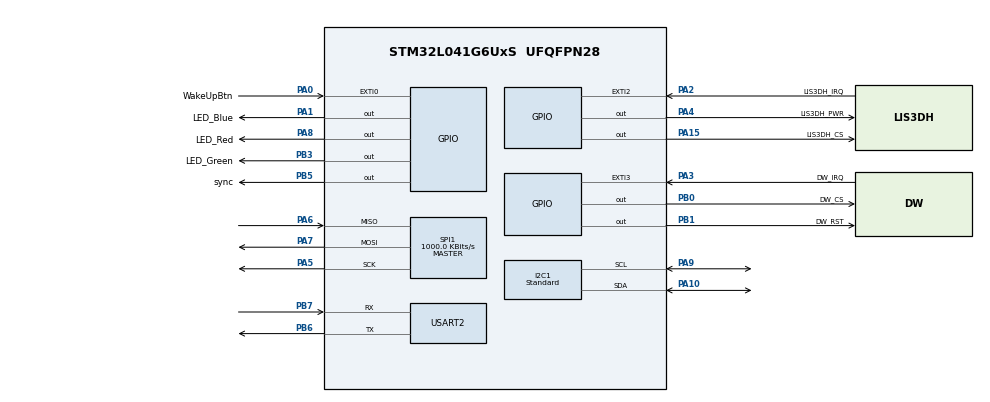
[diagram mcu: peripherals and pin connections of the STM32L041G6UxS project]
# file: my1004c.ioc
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I2C1.Analog_Filter=I2C_ANALOGFILTER_ENABLE
I2C1.I2C_Fall_Time=100
I2C1.I2C_Rise_Time=100
I2C1.I2C_Speed_Mode=I2C_Standard
I2C1.NoStretchMode=I2C_NOSTRETCH_DISABLE
I2C1.Timing=0x00503D58
Mcu.Family=STM32L0
Mcu.Name=STM32L041G6UxS
Mcu.Package=UFQFPN28
NVIC.EXTI0_1_IRQn=true\:0\:0\:false\:false\:true\:true\:true\:true
NVIC.EXTI2_3_IRQn=true\:0\:0\:false\:false\:true\:true\:true\:true
NVIC.RTC_IRQn=true\:0\:0\:false\:false\:true\:true\:true\:true
NVIC.USART2_IRQn=true\:0\:0\:false\:false\:true\:true\:true\:true
PA0-CK_IN.GPIO_Label=WakeUpBtn
PA0-CK_IN.Signal=GPXTI0
PA1.GPIO_Label=LED_Blue
PA1.PinState=GPIO_PIN_SET
PA1.Signal=GPIO_Output
PA10.Mode=I2C
PA10.Signal=I2C1_SDA
PA13.Mode=Serial_Wire
PA13.Signal=SYS_SWDIO
PA14.Mode=Serial_Wire
PA14.Signal=SYS_SWCLK
PA15.GPIO_Label=LIS3DH_CS
PA15.PinState=GPIO_PIN_SET
PA15.Signal=GPIO_Output
PA2.GPIO_Label=LIS3DH_IRQ
PA2.Signal=GPXTI2
PA3.GPIO_Label=DW_IRQ
PA3.Signal=GPXTI3
PA4.GPIO_Label=LIS3DH_PWR
PA4.PinState=GPIO_PIN_SET
PA4.Signal=GPIO_Output
PA5.Mode=Full_Duplex_Master
PA5.Signal=SPI1_SCK
PA6.Mode=Full_Duplex_Master
PA6.Signal=SPI1_MISO
PA7.Mode=Full_Duplex_Master
PA7.Signal=SPI1_MOSI
PA8.GPIO_Label=LED_Red
PA8.PinState=GPIO_PIN_SET
PA8.Signal=GPIO_Output
PA9.Mode=I2C
PA9.Signal=I2C1_SCL
PB0.GPIO_Label=DW_CS
PB0.GPIO_ModeDefaultOutputPP=GPIO_MODE_OUTPUT_PP
PB0.GPIO_PuPd=GPIO_NOPULL
PB0.GPIO_Speed=GPIO_SPEED_FREQ_VERY_HIGH
PB0.PinState=GPIO_PIN_SET
PB0.Signal=GPIO_Output
PB1.GPIO_Label=DW_RST
PB1.GPIO_ModeDefaultOutputPP=GPIO_MODE_OUTPUT_OD
PB1.GPIO_PuPd=GPIO_NOPULL
PB1.GPIO_Speed=GPIO_SPEED_FREQ_VERY_HIGH
PB1.PinState=GPIO_PIN_SET
PB1.Signal=GPIO_Output
PB3.GPIO_Label=LED_Green
PB3.PinState=GPIO_PIN_SET
PB3.Signal=GPIO_Output
PB5.GPIO_Label=sync
PB5.GPIO_Speed=GPIO_SPEED_FREQ_VERY_HIGH
PB5.Signal=GPIO_Output
PB6.Mode=Asynchronous
PB6.Signal=USART2_TX
PB7.Mode=Asynchronous
PB7.Signal=USART2_RX
ProjectManager.HeapSize=0x200
ProjectManager.StackSize=0x400
ProjectManager.TargetToolchain=STM32CubeIDE
RCC.AHBFreq_Value=16000000
RCC.APB1Freq_Value=16000000
RCC.APB1TimFreq_Value=16000000
RCC.APB2Freq_Value=16000000
RCC.APB2TimFreq_Value=16000000
RCC.HCLKFreq_Value=16000000
RCC.HSE_VALUE=8000000
RCC.HSI16_VALUE=16000000
RCC.HSI_VALUE=16000000
RCC.LSE_VALUE=32768
RCC.MSIClockRange=RCC_MSIRANGE_1
RCC.MSI_VALUE=131072
RCC.PLLMUL=RCC_PLLMUL_4
RCC.SYSCLKFreq_VALUE=16000000
RCC.SYSCLKSource=RCC_SYSCLKSOURCE_HSI
RCC.VCOOutputFreq_Value=64000000
SPI1.BaudRatePrescaler=SPI_BAUDRATEPRESCALER_16
SPI1.CalculateBaudRate=1000.0 KBits/s
SPI1.Direction=SPI_DIRECTION_2LINES
SPI1.Mode=SPI_MODE_MASTER
SPI1.VirtualType=VM_MASTER
USART2.VirtualMode-Asynchronous=VM_ASYNC
VP_CRC_VS_CRC.Mode=CRC_Activate
VP_RTC_VS_RTC_Activate.Mode=RTC_Enabled
VP_RTC_VS_RTC_WakeUp_intern.Mode=WakeUp
board=custom

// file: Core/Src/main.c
/* USER CODE BEGIN Header */
/**
  ******************************************************************************
  * @file           : main.c
  * @brief          : Main program body
  ******************************************************************************
  * @attention
  *
  * Copyright (c) 2025 STMicroelectronics.
  * All rights reserved.
  *
  * This software is licensed under terms that can be found in the LICENSE file
  * in the root directory of this software component.
  * If no LICENSE file comes with this software, it is provided AS-IS.
  *
  ******************************************************************************
  */
/* USER CODE END Header */
#include "main.h"

/* USER CODE BEGIN Includes */
#include <stdint.h>
#include "lis3dh.h"
#include "stm32l041xx.h"
#include "stdio.h"
#include "port_platform.h"
#include "deca_types.h"
#include "deca_param_types.h"
#include "deca_regs.h"
#include "deca_device_api.h"
#include "default_config.h"
#include "instance.h"
#include "config.h"

/* USER CODE END Includes */

/* USER CODE BEGIN PTD */
extern bool i2c_slave_read(uint8_t bus, uint8_t addr, uint8_t reg,  uint8_t *data, uint16_t len);

/* USER CODE END PTD */

/* USER CODE BEGIN PD */
#define  TICK_INT_PRIORITY            ((uint32_t)0U)
#define DW_SYNCP_GPIO_Port
#define DW_SYNCP_Pin	7
/* USER CODE END PD */

void SystemClock_Config(void);
static void MX_GPIO_Init(void);
static void MX_CRC_Init(void);
static void MX_RTC_Init(void);
static void MX_SPI1_Init(void);
static void MX_USART2_UART_Init(void);
static void MX_I2C1_Init(void);
/* USER CODE BEGIN PFP */
#define WAIT_VALUE 33  // 약 860ns 지연 (33 / 38.4MHz)
#define FRAME_LEN 12
static uint8 tx_frame[FRAME_LEN] =  { 0xc5,0x00,0x00, 0x05, 0x00, 0x10, 0x00, 0x01, 0xCA, 0xDE,0,0};
/* UWB microsecond (uus) to device time unit (dtu, around 15.65 ps) conversion factor.
* 1 uus = 512 / 499.2 s and 1 s = 499.2 * 128 dtu. */
#define UUS_TO_DWT_TIME 65536
/* USER CODE END PFP */

/* USER CODE BEGIN 0 */
/* Structure for all global variables */
app_cfg_t app;  // extern in instanc.h
blink_msg_t my_msg;

/* @Fn  inittestapplication
* @brief Function for initializing the SPI.
*
* @param[in] void
*/
int inittestapplication(void)
{
   int32_t result = 0;
   int devID; // Decawave Device ID
   decaIrqStatus_t a;

   /* Disable ScenSor (EXT_IRQ) before starting */
   a = decamutexon();
   // Set SPI clock to 2MHz
   port_set_dw1000_slowrate();
   // Read Decawave chip ID

   devID = dwt_readdevid();

   if(DWT_DEVICE_ID != devID)
   {
       //wake up device from low power mode
       //NOTE - in the ARM  code just drop chip select for 200us
       port_wakeup_dw1000();
       // SPI not working or Unsupported Device ID
       devID = dwt_readdevid();
       if (DWT_DEVICE_ID != devID){
    	   Error_Handler();
       }
   }

   // configure: if DW1000 is calibrated then OTP config is used, enable sleep
   result = instance_init(0);

   if (0 > result) {
	   Error_Handler();
   }
   // Set SPI to 16MHz clock
   port_set_dw1000_fastrate();
   // Read Decawave chip ID
   devID = dwt_readdevid();

   if (DWT_DEVICE_ID != devID)   // Means it is NOT MP device
   {
       // SPI not working or Unsupported Device ID
	   Error_Handler();
   }

   instance_config(app.pConfig) ;  // Set operating channel etc

   // OSTSM 모드 활성화 (EC_CTRL[OSTSM]=1)
   dwt_write32bitreg(EXT_SYNC_ID, EC_CTRL_OSTRM);
   dwt_write32bitreg(SYS_MASK_ID,SYS_MASK_MESYNCR);

   // WAIT 값 설정 (SYNC 입력 후 지연 카운트 값)
   //dwt_write32bitreg(EXT_SYNC_ID + 0x04, WAIT_VALUE); // 0x24:04 offset

   // TX 데이터 준비
  // dwt_writetxdata(FRAME_LEN, tx_frame, 0);
  // dwt_writetxfctrl(FRAME_LEN, 0, 1);  // ranging enabled=1

   // OSTS 모드로 송신 대기 (SYNC 신호 입력되면 자동 송신)
   //dwt_starttx(DWT_START_TX_OSTS);

   decamutexoff(a); //enable ScenSor (EXT_IRQ) before starting
   return result;
}
/* USER CODE END 0 */

int main(void)
{

  /* USER CODE BEGIN 1 */
	//SET_BIT(DBGMCU->CR, DBGMCU_CR_DBG_SLEEP | DBGMCU_CR_DBG_STOP | DBGMCU_CR_DBG_STANDBY );
  /* USER CODE END 1 */

  /* MCU Configuration--------------------------------------------------------*/

  /* Reset of all peripherals, Initializes the Flash interface and the Systick. */
  LL_APB2_GRP1_EnableClock(LL_APB2_GRP1_PERIPH_SYSCFG);
  LL_APB1_GRP1_EnableClock(LL_APB1_GRP1_PERIPH_PWR);

  /* Configure the system clock */
  SystemClock_Config();

  /* USER CODE BEGIN SysInit */
  SysTick->CTRL  = SysTick_CTRL_CLKSOURCE_Msk |
                       SysTick_CTRL_TICKINT_Msk |
                       SysTick_CTRL_ENABLE_Msk;
  LL_RCC_SetClkAfterWakeFromStop(LL_RCC_STOP_WAKEUPCLOCK_HSI);
  /* USER CODE END SysInit */

  /* Initialize all configured peripherals */
  MX_GPIO_Init();
  MX_CRC_Init();
  MX_RTC_Init();
  MX_SPI1_Init();
  MX_USART2_UART_Init();
  MX_I2C1_Init();
  /* USER CODE BEGIN 2 */

  memset(&app,0,sizeof(app));

    /* reset DW1000 */
    reset_DW1000();

    /* set default PRF and bit rate etc.. */
    load_bssConfig();                 /**< load the RAM Configuration parameters from NVM block */

    int result = inittestapplication();
    if ( result < 0 ){
  	  Error_Handler();   // Failed to intialze SPI.
    }

    /* Enable blink */
    app.blinkenable = 1;
    app.pcurrent_blink_interval_ms = &(app.pConfig->blink.interval_in_ms);

/*   //Initialise the accelerometer
   //in case of equal intervals disable the accelerometer
    if ( app.pConfig->blink.interval_in_ms == app.pConfig->blink.interval_slow_in_ms ) {
  	  lis3dh_powerdown();
    }else{
  	  lis3dh_configure_int();
    }*/

  /* USER CODE END 2 */

  /* Infinite loop */
  /* USER CODE BEGIN WHILE */
    __enable_irq();

    bool toggle = false;
    uint32_t delayTime = 1000 << 8;
    uint32_t delayCount =0;
    param_block_t *pbss = get_pbssConfig();
    my_msg.header = 0xCCBBAAC5;
    my_msg.anchor_id = pbss->anchorID;
    my_msg.anchor_x = pbss->anchorX;
    my_msg.anchor_y = pbss->anchorY;
    my_msg.anchor_z = pbss->anchorZ;
    my_msg.sync_delay = pbss->syncDelay;
    my_msg.tx_delay = pbss->txDelay;
  while (1)
  {
	  //vTestModeMotionDetect();

	  if( deca_uart_rx_data_ready() )
	  {
	  // process UART msg based on user input.
		  process_uartmsg();
		  LEDS_OFF(LED_BLUE_MASK);
	  }
	  if(delayCount > 999 && my_msg.anchor_id == 1){
		 LL_GPIO_SetOutputPin(sync_GPIO_Port, sync_Pin);    // Set SYNC_OUT high
		 LL_GPIO_ResetOutputPin(sync_GPIO_Port, sync_Pin); // Set SYNC_OUT low
	     delayCount =0;
	  }
	  delayCount++;
	  LL_mDelay(1);
//	  if (sync_cleared){
//		  sync_cleared = 0;
//		while (!(dwt_read32bitreg(SYS_STATUS_ID) & SYS_STATUS_TXFRS)) {} // 전송 완료 플래그가 뜰 때까지 대기
//		dwt_write32bitreg(SYS_STATUS_ID, SYS_STATUS_TXFRS); // 플래그 클리어
//
//	  }

	 // LL_mDelay(10);
	  /*if (app.blinkenable)
	  {
		 instance_run();

	  }*/
	  //LL_mDelay(100);
    /* USER CODE END WHILE */

  }
}

void SystemClock_Config(void)
{
  LL_FLASH_SetLatency(LL_FLASH_LATENCY_0);
  while(LL_FLASH_GetLatency()!= LL_FLASH_LATENCY_0)
  {
  }
  LL_PWR_SetRegulVoltageScaling(LL_PWR_REGU_VOLTAGE_SCALE1);
  while (LL_PWR_IsActiveFlag_VOS() != 0)
  {
  }
  LL_RCC_HSI_Enable();

   /* Wait till HSI is ready */
  while(LL_RCC_HSI_IsReady() != 1)
  {

  }
  LL_RCC_HSI_SetCalibTrimming(16);
  LL_RCC_LSI_Enable();

   /* Wait till LSI is ready */
  while(LL_RCC_LSI_IsReady() != 1)
  {

  }
  LL_PWR_EnableBkUpAccess();
  if(LL_RCC_GetRTCClockSource() != LL_RCC_RTC_CLKSOURCE_LSI)
  {
    LL_RCC_ForceBackupDomainReset();
    LL_RCC_ReleaseBackupDomainReset();
    LL_RCC_SetRTCClockSource(LL_RCC_RTC_CLKSOURCE_LSI);
  }
  LL_RCC_EnableRTC();
  LL_RCC_SetAHBPrescaler(LL_RCC_SYSCLK_DIV_1);
  LL_RCC_SetAPB1Prescaler(LL_RCC_APB1_DIV_1);
  LL_RCC_SetAPB2Prescaler(LL_RCC_APB2_DIV_1);
  LL_RCC_SetSysClkSource(LL_RCC_SYS_CLKSOURCE_HSI);

   /* Wait till System clock is ready */
  while(LL_RCC_GetSysClkSource() != LL_RCC_SYS_CLKSOURCE_STATUS_HSI)
  {

  }

  LL_Init1msTick(16000000);

  LL_SetSystemCoreClock(16000000);
  LL_RCC_SetUSARTClockSource(LL_RCC_USART2_CLKSOURCE_PCLK1);
  LL_RCC_SetI2CClockSource(LL_RCC_I2C1_CLKSOURCE_PCLK1);
}

static void MX_CRC_Init(void)
{

  /* Peripheral clock enable */
  LL_AHB1_GRP1_EnableClock(LL_AHB1_GRP1_PERIPH_CRC);

  LL_CRC_SetInputDataReverseMode(CRC, LL_CRC_INDATA_REVERSE_NONE);
  LL_CRC_SetOutputDataReverseMode(CRC, LL_CRC_OUTDATA_REVERSE_NONE);
  LL_CRC_SetPolynomialCoef(CRC, LL_CRC_DEFAULT_CRC32_POLY);
  LL_CRC_SetPolynomialSize(CRC, LL_CRC_POLYLENGTH_32B);
  LL_CRC_SetInitialData(CRC, LL_CRC_DEFAULT_CRC_INITVALUE);

}

static void MX_I2C1_Init(void)
{

  LL_I2C_InitTypeDef I2C_InitStruct = {0};

  LL_GPIO_InitTypeDef GPIO_InitStruct = {0};

  LL_IOP_GRP1_EnableClock(LL_IOP_GRP1_PERIPH_GPIOA);
  /**I2C1 GPIO Configuration
  PA9   ------> I2C1_SCL
  PA10   ------> I2C1_SDA
  */
  GPIO_InitStruct.Pin = LL_GPIO_PIN_9;
  GPIO_InitStruct.Mode = LL_GPIO_MODE_ALTERNATE;
  GPIO_InitStruct.Speed = LL_GPIO_SPEED_FREQ_VERY_HIGH;
  GPIO_InitStruct.OutputType = LL_GPIO_OUTPUT_OPENDRAIN;
  GPIO_InitStruct.Pull = LL_GPIO_PULL_NO;
  GPIO_InitStruct.Alternate = LL_GPIO_AF_1;
  LL_GPIO_Init(GPIOA, &GPIO_InitStruct);

  GPIO_InitStruct.Pin = LL_GPIO_PIN_10;
  GPIO_InitStruct.Mode = LL_GPIO_MODE_ALTERNATE;
  GPIO_InitStruct.Speed = LL_GPIO_SPEED_FREQ_VERY_HIGH;
  GPIO_InitStruct.OutputType = LL_GPIO_OUTPUT_OPENDRAIN;
  GPIO_InitStruct.Pull = LL_GPIO_PULL_NO;
  GPIO_InitStruct.Alternate = LL_GPIO_AF_1;
  LL_GPIO_Init(GPIOA, &GPIO_InitStruct);

  /* Peripheral clock enable */
  LL_APB1_GRP1_EnableClock(LL_APB1_GRP1_PERIPH_I2C1);

  /** I2C Initialization
  */
  LL_I2C_EnableAutoEndMode(I2C1);
  LL_I2C_DisableOwnAddress2(I2C1);
  LL_I2C_DisableGeneralCall(I2C1);
  LL_I2C_EnableClockStretching(I2C1);
  I2C_InitStruct.PeripheralMode = LL_I2C_MODE_I2C;
  I2C_InitStruct.Timing = 0x00503D58;
  I2C_InitStruct.AnalogFilter = LL_I2C_ANALOGFILTER_ENABLE;
  I2C_InitStruct.DigitalFilter = 0;
  I2C_InitStruct.OwnAddress1 = 0;
  I2C_InitStruct.TypeAcknowledge = LL_I2C_ACK;
  I2C_InitStruct.OwnAddrSize = LL_I2C_OWNADDRESS1_7BIT;
  LL_I2C_Init(I2C1, &I2C_InitStruct);
  LL_I2C_SetOwnAddress2(I2C1, 0, LL_I2C_OWNADDRESS2_NOMASK);

}

static void MX_RTC_Init(void)
{

  LL_RTC_InitTypeDef RTC_InitStruct = {0};

  /* Peripheral clock enable */
  LL_RCC_EnableRTC();

  /* RTC interrupt Init */
  NVIC_SetPriority(RTC_IRQn, 0);
  NVIC_EnableIRQ(RTC_IRQn);

  /** Initialize RTC and set the Time and Date
  */
  RTC_InitStruct.HourFormat = LL_RTC_HOURFORMAT_24HOUR;
  RTC_InitStruct.AsynchPrescaler = 127;
  RTC_InitStruct.SynchPrescaler = 255;
  LL_RTC_Init(RTC, &RTC_InitStruct);

  /** Initialize RTC and set the Time and Date
  */

  /** Enable the WakeUp
  */
  LL_RTC_WAKEUP_SetClock(RTC, LL_RTC_WAKEUPCLOCK_DIV_16);

}

static void MX_SPI1_Init(void)
{

  LL_SPI_InitTypeDef SPI_InitStruct = {0};

  LL_GPIO_InitTypeDef GPIO_InitStruct = {0};

  /* Peripheral clock enable */
  LL_APB2_GRP1_EnableClock(LL_APB2_GRP1_PERIPH_SPI1);

  LL_IOP_GRP1_EnableClock(LL_IOP_GRP1_PERIPH_GPIOA);
  /**SPI1 GPIO Configuration
  PA5   ------> SPI1_SCK
  PA6   ------> SPI1_MISO
  PA7   ------> SPI1_MOSI
  */
  GPIO_InitStruct.Pin = LL_GPIO_PIN_5;
  GPIO_InitStruct.Mode = LL_GPIO_MODE_ALTERNATE;
  GPIO_InitStruct.Speed = LL_GPIO_SPEED_FREQ_VERY_HIGH;
  GPIO_InitStruct.OutputType = LL_GPIO_OUTPUT_PUSHPULL;
  GPIO_InitStruct.Pull = LL_GPIO_PULL_NO;
  GPIO_InitStruct.Alternate = LL_GPIO_AF_0;
  LL_GPIO_Init(GPIOA, &GPIO_InitStruct);

  GPIO_InitStruct.Pin = LL_GPIO_PIN_6;
  GPIO_InitStruct.Mode = LL_GPIO_MODE_ALTERNATE;
  GPIO_InitStruct.Speed = LL_GPIO_SPEED_FREQ_VERY_HIGH;
  GPIO_InitStruct.OutputType = LL_GPIO_OUTPUT_PUSHPULL;
  GPIO_InitStruct.Pull = LL_GPIO_PULL_NO;
  GPIO_InitStruct.Alternate = LL_GPIO_AF_0;
  LL_GPIO_Init(GPIOA, &GPIO_InitStruct);

  GPIO_InitStruct.Pin = LL_GPIO_PIN_7;
  GPIO_InitStruct.Mode = LL_GPIO_MODE_ALTERNATE;
  GPIO_InitStruct.Speed = LL_GPIO_SPEED_FREQ_VERY_HIGH;
  GPIO_InitStruct.OutputType = LL_GPIO_OUTPUT_PUSHPULL;
  GPIO_InitStruct.Pull = LL_GPIO_PULL_NO;
  GPIO_InitStruct.Alternate = LL_GPIO_AF_0;
  LL_GPIO_Init(GPIOA, &GPIO_InitStruct);

  /* SPI1 parameter configuration*/
  SPI_InitStruct.TransferDirection = LL_SPI_FULL_DUPLEX;
  SPI_InitStruct.Mode = LL_SPI_MODE_MASTER;
  SPI_InitStruct.DataWidth = LL_SPI_DATAWIDTH_8BIT;
  SPI_InitStruct.ClockPolarity = LL_SPI_POLARITY_LOW;
  SPI_InitStruct.ClockPhase = LL_SPI_PHASE_1EDGE;
  SPI_InitStruct.NSS = LL_SPI_NSS_SOFT;
  SPI_InitStruct.BaudRate = LL_SPI_BAUDRATEPRESCALER_DIV16;
  SPI_InitStruct.BitOrder = LL_SPI_MSB_FIRST;
  SPI_InitStruct.CRCCalculation = LL_SPI_CRCCALCULATION_DISABLE;
  SPI_InitStruct.CRCPoly = 7;
  LL_SPI_Init(SPI1, &SPI_InitStruct);
  LL_SPI_SetStandard(SPI1, LL_SPI_PROTOCOL_MOTOROLA);
  /* USER CODE BEGIN SPI1_Init 2 */

  LL_SPI_Enable(SPI1);
  /* USER CODE END SPI1_Init 2 */

}

static void MX_USART2_UART_Init(void)
{

  LL_USART_InitTypeDef USART_InitStruct = {0};

  LL_GPIO_InitTypeDef GPIO_InitStruct = {0};

  /* Peripheral clock enable */
  LL_APB1_GRP1_EnableClock(LL_APB1_GRP1_PERIPH_USART2);

  LL_IOP_GRP1_EnableClock(LL_IOP_GRP1_PERIPH_GPIOB);
  /**USART2 GPIO Configuration
  PB6   ------> USART2_TX
  PB7   ------> USART2_RX
  */
  GPIO_InitStruct.Pin = LL_GPIO_PIN_6;
  GPIO_InitStruct.Mode = LL_GPIO_MODE_ALTERNATE;
  GPIO_InitStruct.Speed = LL_GPIO_SPEED_FREQ_VERY_HIGH;
  GPIO_InitStruct.OutputType = LL_GPIO_OUTPUT_PUSHPULL;
  GPIO_InitStruct.Pull = LL_GPIO_PULL_NO;
  GPIO_InitStruct.Alternate = LL_GPIO_AF_0;
  LL_GPIO_Init(GPIOB, &GPIO_InitStruct);

  GPIO_InitStruct.Pin = LL_GPIO_PIN_7;
  GPIO_InitStruct.Mode = LL_GPIO_MODE_ALTERNATE;
  GPIO_InitStruct.Speed = LL_GPIO_SPEED_FREQ_VERY_HIGH;
  GPIO_InitStruct.OutputType = LL_GPIO_OUTPUT_PUSHPULL;
  GPIO_InitStruct.Pull = LL_GPIO_PULL_NO;
  GPIO_InitStruct.Alternate = LL_GPIO_AF_0;
  LL_GPIO_Init(GPIOB, &GPIO_InitStruct);

  /* USART2 interrupt Init */
  NVIC_SetPriority(USART2_IRQn, 0);
  NVIC_EnableIRQ(USART2_IRQn);

  USART_InitStruct.BaudRate = 115200;
  USART_InitStruct.DataWidth = LL_USART_DATAWIDTH_8B;
  USART_InitStruct.StopBits = LL_USART_STOPBITS_1;
  USART_InitStruct.Parity = LL_USART_PARITY_NONE;
  USART_InitStruct.TransferDirection = LL_USART_DIRECTION_TX_RX;
  USART_InitStruct.HardwareFlowControl = LL_USART_HWCONTROL_NONE;
  USART_InitStruct.OverSampling = LL_USART_OVERSAMPLING_16;
  LL_USART_Init(USART2, &USART_InitStruct);
  LL_USART_ConfigAsyncMode(USART2);
  LL_USART_Enable(USART2);
  /* USER CODE BEGIN USART2_Init 2 */
  LL_USART_EnableIT_PE( USART2 );
  LL_USART_EnableIT_ERROR( USART2 );
  LL_USART_EnableIT_RXNE(USART2);
  /* USER CODE END USART2_Init 2 */

}

static void MX_GPIO_Init(void)
{
  LL_EXTI_InitTypeDef EXTI_InitStruct = {0};
  LL_GPIO_InitTypeDef GPIO_InitStruct = {0};

  /* GPIO Ports Clock Enable */
  LL_IOP_GRP1_EnableClock(LL_IOP_GRP1_PERIPH_GPIOA);
  LL_IOP_GRP1_EnableClock(LL_IOP_GRP1_PERIPH_GPIOB);

  /**/
  LL_GPIO_SetOutputPin(LED_Blue_GPIO_Port, LED_Blue_Pin);

  /**/
  LL_GPIO_SetOutputPin(LIS3DH_PWR_GPIO_Port, LIS3DH_PWR_Pin);

  /**/
  LL_GPIO_SetOutputPin(DW_CS_GPIO_Port, DW_CS_Pin);

  /**/
  LL_GPIO_SetOutputPin(DW_RST_GPIO_Port, DW_RST_Pin);

  /**/
  LL_GPIO_SetOutputPin(LED_Red_GPIO_Port, LED_Red_Pin);

  /**/
  LL_GPIO_SetOutputPin(LIS3DH_CS_GPIO_Port, LIS3DH_CS_Pin);

  /**/
  LL_GPIO_SetOutputPin(LED_Green_GPIO_Port, LED_Green_Pin);

  /**/
  LL_GPIO_ResetOutputPin(sync_GPIO_Port, sync_Pin);

  /**/
  LL_SYSCFG_SetEXTISource(LL_SYSCFG_EXTI_PORTA, LL_SYSCFG_EXTI_LINE0);

  /**/
  LL_SYSCFG_SetEXTISource(LL_SYSCFG_EXTI_PORTA, LL_SYSCFG_EXTI_LINE2);

  /**/
  LL_SYSCFG_SetEXTISource(LL_SYSCFG_EXTI_PORTA, LL_SYSCFG_EXTI_LINE3);

  /**/
  LL_GPIO_SetPinPull(WakeUpBtn_GPIO_Port, WakeUpBtn_Pin, LL_GPIO_PULL_NO);

  /**/
  LL_GPIO_SetPinPull(LIS3DH_IRQ_GPIO_Port, LIS3DH_IRQ_Pin, LL_GPIO_PULL_NO);

  /**/
  LL_GPIO_SetPinPull(DW_IRQ_GPIO_Port, DW_IRQ_Pin, LL_GPIO_PULL_NO);

  /**/
  LL_GPIO_SetPinMode(WakeUpBtn_GPIO_Port, WakeUpBtn_Pin, LL_GPIO_MODE_INPUT);

  /**/
  LL_GPIO_SetPinMode(LIS3DH_IRQ_GPIO_Port, LIS3DH_IRQ_Pin, LL_GPIO_MODE_INPUT);

  /**/
  LL_GPIO_SetPinMode(DW_IRQ_GPIO_Port, DW_IRQ_Pin, LL_GPIO_MODE_INPUT);

  /**/
  EXTI_InitStruct.Line_0_31 = LL_EXTI_LINE_0;
  EXTI_InitStruct.LineCommand = ENABLE;
  EXTI_InitStruct.Mode = LL_EXTI_MODE_IT;
  EXTI_InitStruct.Trigger = LL_EXTI_TRIGGER_RISING;
  LL_EXTI_Init(&EXTI_InitStruct);

  /**/
  EXTI_InitStruct.Line_0_31 = LL_EXTI_LINE_2;
  EXTI_InitStruct.LineCommand = ENABLE;
  EXTI_InitStruct.Mode = LL_EXTI_MODE_IT;
  EXTI_InitStruct.Trigger = LL_EXTI_TRIGGER_RISING;
  LL_EXTI_Init(&EXTI_InitStruct);

  /**/
  EXTI_InitStruct.Line_0_31 = LL_EXTI_LINE_3;
  EXTI_InitStruct.LineCommand = ENABLE;
  EXTI_InitStruct.Mode = LL_EXTI_MODE_IT;
  EXTI_InitStruct.Trigger = LL_EXTI_TRIGGER_RISING;
  LL_EXTI_Init(&EXTI_InitStruct);

  /**/
  GPIO_InitStruct.Pin = LED_Blue_Pin;
  GPIO_InitStruct.Mode = LL_GPIO_MODE_OUTPUT;
  GPIO_InitStruct.Speed = LL_GPIO_SPEED_FREQ_LOW;
  GPIO_InitStruct.OutputType = LL_GPIO_OUTPUT_PUSHPULL;
  GPIO_InitStruct.Pull = LL_GPIO_PULL_NO;
  LL_GPIO_Init(LED_Blue_GPIO_Port, &GPIO_InitStruct);

  /**/
  GPIO_InitStruct.Pin = LIS3DH_PWR_Pin;
  GPIO_InitStruct.Mode = LL_GPIO_MODE_OUTPUT;
  GPIO_InitStruct.Speed = LL_GPIO_SPEED_FREQ_LOW;
  GPIO_InitStruct.OutputType = LL_GPIO_OUTPUT_PUSHPULL;
  GPIO_InitStruct.Pull = LL_GPIO_PULL_NO;
  LL_GPIO_Init(LIS3DH_PWR_GPIO_Port, &GPIO_InitStruct);

  /**/
  GPIO_InitStruct.Pin = DW_CS_Pin;
  GPIO_InitStruct.Mode = LL_GPIO_MODE_OUTPUT;
  GPIO_InitStruct.Speed = LL_GPIO_SPEED_FREQ_VERY_HIGH;
  GPIO_InitStruct.OutputType = LL_GPIO_OUTPUT_PUSHPULL;
  GPIO_InitStruct.Pull = LL_GPIO_PULL_NO;
  LL_GPIO_Init(DW_CS_GPIO_Port, &GPIO_InitStruct);

  /**/
  GPIO_InitStruct.Pin = DW_RST_Pin;
  GPIO_InitStruct.Mode = LL_GPIO_MODE_OUTPUT;
  GPIO_InitStruct.Speed = LL_GPIO_SPEED_FREQ_VERY_HIGH;
  GPIO_InitStruct.OutputType = LL_GPIO_OUTPUT_OPENDRAIN;
  GPIO_InitStruct.Pull = LL_GPIO_PULL_NO;
  LL_GPIO_Init(DW_RST_GPIO_Port, &GPIO_InitStruct);

  /**/
  GPIO_InitStruct.Pin = LED_Red_Pin;
  GPIO_InitStruct.Mode = LL_GPIO_MODE_OUTPUT;
  GPIO_InitStruct.Speed = LL_GPIO_SPEED_FREQ_LOW;
  GPIO_InitStruct.OutputType = LL_GPIO_OUTPUT_PUSHPULL;
  GPIO_InitStruct.Pull = LL_GPIO_PULL_NO;
  LL_GPIO_Init(LED_Red_GPIO_Port, &GPIO_InitStruct);

  /**/
  GPIO_InitStruct.Pin = LIS3DH_CS_Pin;
  GPIO_InitStruct.Mode = LL_GPIO_MODE_OUTPUT;
  GPIO_InitStruct.Speed = LL_GPIO_SPEED_FREQ_LOW;
  GPIO_InitStruct.OutputType = LL_GPIO_OUTPUT_PUSHPULL;
  GPIO_InitStruct.Pull = LL_GPIO_PULL_NO;
  LL_GPIO_Init(LIS3DH_CS_GPIO_Port, &GPIO_InitStruct);

  /**/
  GPIO_InitStruct.Pin = LED_Green_Pin;
  GPIO_InitStruct.Mode = LL_GPIO_MODE_OUTPUT;
  GPIO_InitStruct.Speed = LL_GPIO_SPEED_FREQ_LOW;
  GPIO_InitStruct.OutputType = LL_GPIO_OUTPUT_PUSHPULL;
  GPIO_InitStruct.Pull = LL_GPIO_PULL_NO;
  LL_GPIO_Init(LED_Green_GPIO_Port, &GPIO_InitStruct);

  /**/
  GPIO_InitStruct.Pin = sync_Pin;
  GPIO_InitStruct.Mode = LL_GPIO_MODE_OUTPUT;
  GPIO_InitStruct.Speed = LL_GPIO_SPEED_FREQ_VERY_HIGH;
  GPIO_InitStruct.OutputType = LL_GPIO_OUTPUT_PUSHPULL;
  GPIO_InitStruct.Pull = LL_GPIO_PULL_NO;
  LL_GPIO_Init(sync_GPIO_Port, &GPIO_InitStruct);

  /* EXTI interrupt init*/
  NVIC_SetPriority(EXTI0_1_IRQn, 0);
  NVIC_EnableIRQ(EXTI0_1_IRQn);
  NVIC_SetPriority(EXTI2_3_IRQn, 0);
  NVIC_EnableIRQ(EXTI2_3_IRQn);

}

void Error_Handler(void)
{
  __disable_irq();
  while (1)
  {
  }
}
